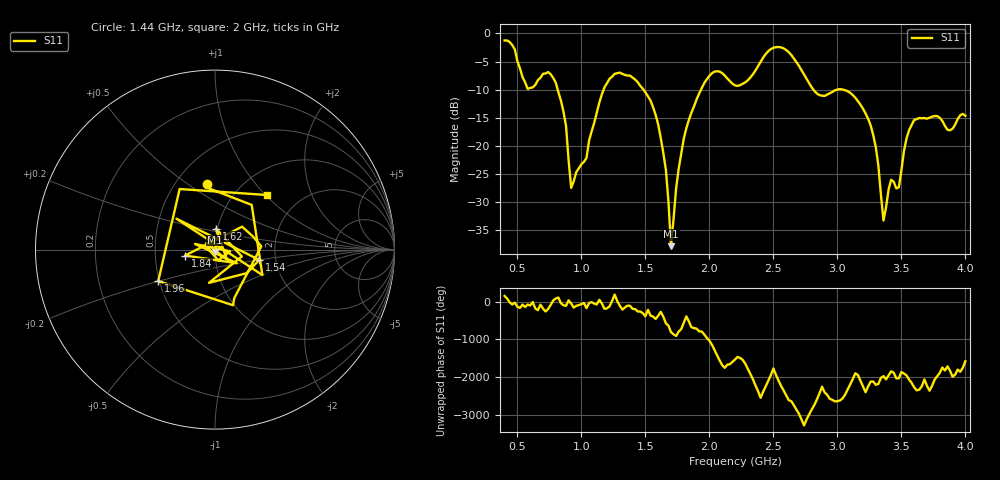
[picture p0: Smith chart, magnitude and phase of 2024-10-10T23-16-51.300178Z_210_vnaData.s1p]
! Created with skrf (http://scikit-rf.org).
# Hz S RI R 50.0
!freq ReS11 ImS11
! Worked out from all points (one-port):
!   181 points, 400 MHz to 4 GHz, reference 50 ohm
!   lowest |S11| = -37.9 dB at 1.7 GHz (marker M1), VSWR 1.03, Z = 50 - j1.28 ohm
!   |S11| at or under -10 dB: 814.8 MHz to 1.174 GHz (358.8 MHz wide, 36.1 % of centre); 1.485 GHz to 1.935 GHz (449.4 MHz wide, 26.3 % of centre); 3.04 GHz to end of sweep (the widest 3 of 4)
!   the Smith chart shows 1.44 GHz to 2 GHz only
!   S11 on the Smith chart (normalised r, x): 1.44 GHz: 0.71, +0.60; 1.54 GHz: 1.64, -0.20; 1.62 GHz: 0.98, +0.23; 1.84 GHz: 0.71, -0.05; 1.96 GHz: 0.49, -0.20; 2 GHz: 1.38, +1.02
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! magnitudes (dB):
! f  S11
! 400 MHz  -1.3
! 580 MHz  -9.9
! 760 MHz  -7.3
! 860 MHz  -13.9
! 920 MHz  -27.5
! 1.04 GHz  -22.2
! 1.18 GHz  -9.6
! 1.3 GHz  -7.0
! 1.44 GHz  -8.7
! 1.54 GHz  -11.9
! 1.62 GHz  -18.6
! 1.66 GHz  -24.3
! 1.7 GHz  -37.9
! 1.76 GHz  -24.1
! 1.84 GHz  -15.4
! 1.96 GHz  -8.8
! 2 GHz  -7.6
! 2.2 GHz  -9.2
! 2.5 GHz  -2.6
! 2.66 GHz  -4.5
! 2.86 GHz  -11.0
! 3.1 GHz  -10.6
! 3.28 GHz  -18.1
! 3.36 GHz  -33.3
! 3.42 GHz  -26.1
! 3.48 GHz  -27.4
! 3.56 GHz  -17.2
! 4 GHz  -14.7
